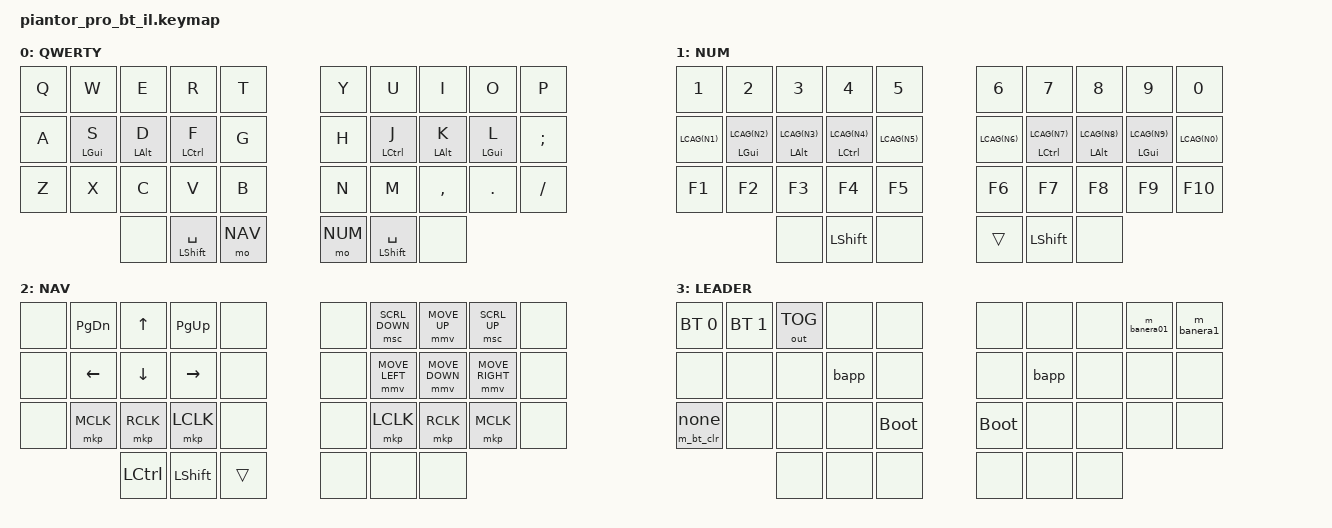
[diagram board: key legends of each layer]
/*
 * il keymap for Piantor Pro BT (36-key / 5-col).
 * Ported 1:1 from config/corne_choc_pro_il.keymap.
 *
 * The corne_il keymap lived in the Corne's 46-slot matrix with the outer
 * column + encoder column as &trans fillers. The 36-key Piantor has no such
 * fillers, so this uses the board's &five_col_layout (5 cols x 3 rows + 3
 * thumbs per hand) and the letters land directly on positions 0-35.
 *
 * Position grid (&five_col_layout):
 *   row 1:  0  1  2  3  4     5  6  7  8  9
 *   row 2: 10 11 12 13 14    15 16 17 18 19
 *   row 3: 20 21 22 23 24    25 26 27 28 29
 *   thumb:       30 31 32    33 34 35
 */

#include <behaviors.dtsi>
#include <dt-bindings/zmk/keys.h>
#include <dt-bindings/zmk/bt.h>
#include <dt-bindings/zmk/outputs.h>
#include <dt-bindings/zmk/rgb.h>
#include <dt-bindings/zmk/pointing.h>

// Vendored behavior (&bapp): types the battery percentage as keycodes.
// See src/behavior_battery_percentage_printer.c + dts/. The half it reports
// is the half the &bapp key physically lives on (central=left, peripheral=right).
#include <behaviors/battery_percentage_printer.dtsi>

#define DEF 0
#define NUM 1
#define NAV 2
#define LDR 3

#define LCAG(k) LC(LA(LG(k)))

/ {
    chosen {
        zmk,physical-layout = &five_col_layout;
    };

    behaviors {
        // Home-row mod on the left hand. Holds only fire if the next key is
        // on the right hand (right-hand keys + right thumbs).
        hml: homerow_mod_left {
            compatible = "zmk,behavior-hold-tap";
            #binding-cells = <2>;
            flavor = "balanced";
            tapping-term-ms = <200>;
            quick-tap-ms = <150>;
            require-prior-idle-ms = <100>;
            bindings = <&kp>, <&kp>;
            hold-trigger-key-positions = <5 6 7 8 9 15 16 17 18 19 25 26 27 28 29 33 34 35>;
            hold-trigger-on-release;
        };

        // Home-row mod on the right hand. Mirror of hml.
        hmr: homerow_mod_right {
            compatible = "zmk,behavior-hold-tap";
            #binding-cells = <2>;
            flavor = "balanced";
            tapping-term-ms = <200>;
            quick-tap-ms = <150>;
            require-prior-idle-ms = <100>;
            bindings = <&kp>, <&kp>;
            hold-trigger-key-positions = <0 1 2 3 4 10 11 12 13 14 20 21 22 23 24 30 31 32>;
            hold-trigger-on-release;
        };

        // "Hold for 1 second to clear the active BT profile."
        // Tap does nothing; only a deliberate long-hold fires &bt BT_CLR.
        // Used on the LEADER layer at Z (position 20).
        //
        // #binding-cells is fixed at 2 by the hold-tap schema; the two
        // cells are forwarded as params to the hold/tap inner bindings.
        // Our inners are 0-cell (a macro and &none), so the forwarded
        // params are inert. We always invoke this as `&bt_clr_hold 0 0`.
        bt_clr_hold: bt_clr_hold {
            compatible = "zmk,behavior-hold-tap";
            #binding-cells = <2>;
            flavor = "hold-preferred";
            tapping-term-ms = <1000>;
            bindings = <&m_bt_clr>, <&none>;
        };
    };

    macros {
        // Leader -> P: types "h@banera1\n"
        m_banera1: m_banera1 {
            compatible = "zmk,behavior-macro";
            #binding-cells = <0>;
            wait-ms = <10>;
            tap-ms = <10>;
            bindings = <&macro_tap &kp H &kp AT &kp B &kp A &kp N &kp E &kp R &kp A &kp N1 &kp ENTER>;
        };

        // Zero-cell wrapper around &bt BT_CLR so it can be used as
        // a hold-tap inner binding (see bt_clr_hold).
        m_bt_clr: m_bt_clr {
            compatible = "zmk,behavior-macro";
            #binding-cells = <0>;
            wait-ms = <10>;
            tap-ms = <10>;
            bindings = <&bt BT_CLR>;
        };

        // Leader -> O: types "H@banera01\n"
        m_banera01: m_banera01 {
            compatible = "zmk,behavior-macro";
            #binding-cells = <0>;
            wait-ms = <10>;
            tap-ms = <10>;
            bindings
                = <&macro_press &kp LSHFT>
                , <&macro_tap &kp H>
                , <&macro_release &kp LSHFT>
                , <&macro_tap &kp AT &kp B &kp A &kp N &kp E &kp R &kp A &kp N0 &kp N1 &kp ENTER>;
        };

    };

    combos {
        compatible = "zmk,combos";

        // Top-row left letter combos: W+E -> `, E+R -> ', W+R -> \, W+E+R -> ESC
        we_grave   { timeout-ms = <40>; key-positions = <1 2>;   bindings = <&kp GRAVE>; };
        er_squote  { timeout-ms = <40>; key-positions = <2 3>;   bindings = <&kp SQT>;   };
        wr_bslh    { timeout-ms = <40>; key-positions = <1 3>;   bindings = <&kp BSLH>;  };
        wer_esc    { timeout-ms = <40>; key-positions = <1 2 3>; bindings = <&kp ESC>;   };

        // Top-row right letter combos: I+O -> BSPC, U+I -> -, U+O -> =
        io_bspc    { timeout-ms = <40>; key-positions = <7 8>; bindings = <&kp BSPC>;  };
        ui_minus   { timeout-ms = <40>; key-positions = <6 7>; bindings = <&kp MINUS>; };
        uo_equal   { timeout-ms = <40>; key-positions = <6 8>; bindings = <&kp EQUAL>; };

        // Bottom-row left letter combos: X+C -> [, C+V -> TAB, X+C+V -> leader (sticky LDR)
        xc_lbkt    { timeout-ms = <40>; key-positions = <21 22>;    bindings = <&kp LBKT>;   };
        cv_tab     { timeout-ms = <40>; key-positions = <22 23>;    bindings = <&kp TAB>;    };
        xcv_leader { timeout-ms = <40>; key-positions = <21 22 23>; bindings = <&sl LDR>;    };

        // Bottom-row right combos: , + . -> ], M + , -> ENTER
        commadot_rbkt { timeout-ms = <40>; key-positions = <27 28>; bindings = <&kp RBKT>;  };
        mcomma_enter  { timeout-ms = <40>; key-positions = <26 27>; bindings = <&kp ENTER>; };
    };

    keymap {
        compatible = "zmk,keymap";

        default_layer {
            display-name = "QWERTY";
            bindings = <
&kp Q  &kp W       &kp E       &kp R        &kp T     &kp Y   &kp U        &kp I       &kp O       &kp P
&kp A  &hml LGUI S &hml LALT D &hml LCTRL F &kp G     &kp H   &hmr LCTRL J &hmr LALT K &hmr LGUI L &kp SEMI
&kp Z  &kp X       &kp C       &kp V        &kp B     &kp N   &kp M        &kp COMMA   &kp DOT     &kp FSLH
                   &none &mt LSHFT SPACE &mo NAV       &mo NUM &mt LSHFT SPACE &none
            >;
        };

        num_layer {
            display-name = "NUM";
            bindings = <
&kp N1        &kp N2              &kp N3              &kp N4               &kp N5        &kp N6         &kp N7              &kp N8             &kp N9             &kp N0
&kp LCAG(N1)  &hml LGUI LCAG(N2)  &hml LALT LCAG(N3)  &hml LCTRL LCAG(N4)  &kp LCAG(N5) &kp LCAG(N6)   &hmr LCTRL LCAG(N7) &hmr LALT LCAG(N8) &hmr LGUI LCAG(N9) &kp LCAG(N0)
&kp F1        &kp F2              &kp F3              &kp F4               &kp F5       &kp F6         &kp F7              &kp F8             &kp F9             &kp F10
                                  &none &kp LSHFT &none                   &trans       &kp LSHFT      &none
            >;
        };

        nav_layer {
            display-name = "NAV";
            bindings = <
&none  &kp PG_DN  &kp UP     &kp PG_UP  &none      &none           &msc SCRL_DOWN  &mmv MOVE_UP    &msc SCRL_UP    &none
&none  &kp LEFT   &kp DOWN   &kp RIGHT  &none      &none           &mmv MOVE_LEFT  &mmv MOVE_DOWN  &mmv MOVE_RIGHT &none
&none  &mkp MCLK  &mkp RCLK  &mkp LCLK  &none      &none           &mkp LCLK       &mkp RCLK       &mkp MCLK       &none
                  &kp LCTRL  &kp LSHFT  &trans     &none           &none           &none
            >;
        };

        leader_layer {
            display-name = "LEADER";
            // X+C+V combo fires &sl LDR, then the next key picks a binding.
            //   Q -> select BT profile 1, W -> select BT profile 2
            //   E -> toggle HID output (USB <-> BLE)
            //   Z -> HOLD 1s to clear active BT profile (&bt BT_CLR)
            //   O -> "H@banera01\n", P -> "h@banera1\n"
            //   B -> bootloader (left half), N -> bootloader (right half)
            //   F -> type LEFT battery %  (F is on the left/central half)
            //   J -> type RIGHT battery % (J is on the right/peripheral half)
            bindings = <
&bt BT_SEL 0    &bt BT_SEL 1 &out OUT_TOG &none  &none      &none       &none  &none &m_banera01 &m_banera1
&none           &none        &none        &bapp  &none      &none       &bapp  &none &none       &none
&bt_clr_hold 0 0 &none       &none        &none &bootloader &bootloader &none &none &none       &none
                             &none &none &none                &none &none &none
            >;
        };
    };
};
